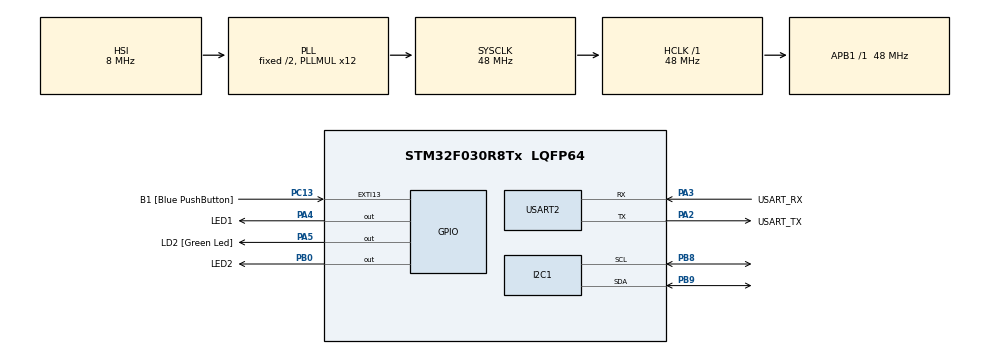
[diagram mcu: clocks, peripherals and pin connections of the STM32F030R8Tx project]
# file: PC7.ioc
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FREERTOS.Queues01=xVisualQueue,16,int16_t,0,Dynamic,NULL,NULL
FREERTOS.Tasks01=defaultTask,0,128,StartDefaultTask,Default,NULL,Dynamic,NULL,NULL;VisualTask,0,128,StartVisualTask,Default,NULL,Dynamic,NULL,NULL;AcceleroTask,0,128,StartAcceleroTask,Default,NULL,Dynamic,NULL,NULL
FREERTOS.configUSE_NEWLIB_REENTRANT=1
I2C1.Timing=0x00201D2B
Mcu.Family=STM32F0
Mcu.Name=STM32F030R8Tx
Mcu.Package=LQFP64
NVIC.TIM14_IRQn=true\:3\:0\:false\:false\:true\:false\:false\:true\:true
NVIC.TimeBase=TIM14_IRQn
NVIC.TimeBaseIP=TIM14
PA13.GPIO_Label=TMS
PA13.Mode=Serial_Wire
PA13.Signal=SYS_SWDIO
PA14.GPIO_Label=TCK
PA14.Mode=Serial_Wire
PA14.Signal=SYS_SWCLK
PA2.GPIO_Label=USART_TX
PA2.GPIO_Mode=GPIO_MODE_AF_PP
PA2.GPIO_PuPd=GPIO_NOPULL
PA2.GPIO_Speed=GPIO_SPEED_FREQ_LOW
PA2.Mode=Asynchronous
PA2.Signal=USART2_TX
PA3.GPIO_Label=USART_RX
PA3.GPIO_Mode=GPIO_MODE_AF_PP
PA3.GPIO_PuPd=GPIO_NOPULL
PA3.GPIO_Speed=GPIO_SPEED_FREQ_LOW
PA3.Mode=Asynchronous
PA3.Signal=USART2_RX
PA4.GPIO_Label=LED1
PA4.Signal=GPIO_Output
PA5.GPIO_Label=LD2 [Green Led]
PA5.GPIO_Mode=GPIO_MODE_OUTPUT_PP
PA5.GPIO_PuPd=GPIO_NOPULL
PA5.GPIO_Speed=GPIO_SPEED_FREQ_LOW
PA5.Signal=GPIO_Output
PB0.GPIO_Label=LED2
PB0.Signal=GPIO_Output
PB8.Mode=I2C
PB8.Signal=I2C1_SCL
PB9.Mode=I2C
PB9.Signal=I2C1_SDA
PC13.GPIO_Label=B1 [Blue PushButton]
PC13.GPIO_ModeDefaultEXTI=GPIO_MODE_IT_FALLING
PC13.Signal=GPXTI13
PC14-OSC32_IN.Mode=LSE-External-Oscillator
PC14-OSC32_IN.Signal=RCC_OSC32_IN
PC15-OSC32_OUT.Mode=LSE-External-Oscillator
PC15-OSC32_OUT.Signal=RCC_OSC32_OUT
PF0-OSC_IN.Mode=HSE-External-Clock-Source
PF0-OSC_IN.Signal=RCC_OSC_IN
PF1-OSC_OUT.Signal=RCC_OSC_OUT
ProjectManager.HeapSize=0x200
ProjectManager.StackSize=0x400
ProjectManager.TargetToolchain=STM32CubeIDE
RCC.AHBFreq_Value=48000000
RCC.APB1Freq_Value=48000000
RCC.APB1TimFreq_Value=48000000
RCC.HCLKFreq_Value=48000000
RCC.PLLMUL=RCC_PLL_MUL12
RCC.SYSCLKFreq_VALUE=48000000
RCC.SYSCLKSource=RCC_SYSCLKSOURCE_PLLCLK
USART2.VirtualMode-Asynchronous=VM_ASYNC
VP_FREERTOS_VS_CMSIS_V1.Mode=CMSIS_V1
VP_SYS_VS_tim14.Mode=TIM14
board=NUCLEO-F030R8

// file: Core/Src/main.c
/* USER CODE BEGIN Header */
/**
  ******************************************************************************
  * @file           : main.c
  * @brief          : Main program body
  ******************************************************************************
  * @attention
  *
  * Copyright (c) 2025 STMicroelectronics.
  * All rights reserved.
  *
  * This software is licensed under terms that can be found in the LICENSE file
  * in the root directory of this software component.
  * If no LICENSE file comes with this software, it is provided AS-IS.
  *
  ******************************************************************************
  */
/* USER CODE END Header */
#include "main.h"
#include "cmsis_os.h"

/* USER CODE BEGIN Includes */
#include <stdio.h>
#include "./LIS2DW12-PID/lis2dw12_reg.h"

/* USER CODE END Includes */

I2C_HandleTypeDef hi2c1;

UART_HandleTypeDef huart2;

osThreadId defaultTaskHandle;
osThreadId VisualTaskHandle;
osThreadId AcceleroTaskHandle;
osMessageQId xVisualQueueHandle;

void SystemClock_Config(void);
static void MX_GPIO_Init(void);
static void MX_USART2_UART_Init(void);
static void MX_I2C1_Init(void);
void StartDefaultTask(void const * argument);
void StartVisualTask(void const * argument);
void StartAcceleroTask(void const * argument);

/* USER CODE BEGIN PFP */

static int32_t platform_write(void *handle, uint8_t reg, uint8_t *bufp, uint16_t len);
static int32_t platform_read(void *handle, uint8_t reg, uint8_t *bufp, uint16_t len);
static stmdev_ctx_t lis2dw12 = {
	.write_reg = platform_write,
	.read_reg = platform_read,
	.handle = &hi2c1,
};

static int32_t platform_write(void *handle, uint8_t reg, uint8_t *bufp, uint16_t len)
{
	HAL_I2C_Mem_Write(handle, LIS2DW12_I2C_ADD_H, reg, I2C_MEMADD_SIZE_8BIT, bufp, len, 1000);
	return 0;
}
static int32_t platform_read(void *handle, uint8_t reg, uint8_t *bufp, uint16_t len)
{
	HAL_I2C_Mem_Read(handle, LIS2DW12_I2C_ADD_H, reg, I2C_MEMADD_SIZE_8BIT, bufp, len, 1000);
	return 0;
}

int _write(int file, char const *buf, int n)
{
	/* stdout redirection to UART2 */
	HAL_UART_Transmit(&huart2, (uint8_t*)(buf), n, HAL_MAX_DELAY);
	return n;
}

/* USER CODE END PFP */

int main(void)
{

  /* MCU Configuration--------------------------------------------------------*/

  /* Reset of all peripherals, Initializes the Flash interface and the Systick. */
  HAL_Init();

  /* Configure the system clock */
  SystemClock_Config();

  /* Initialize all configured peripherals */
  MX_GPIO_Init();
  MX_USART2_UART_Init();
  MX_I2C1_Init();
  /* USER CODE BEGIN 2 */

  uint8_t whoamI = 0;
  lis2dw12_device_id_get(&lis2dw12, &whoamI);
  printf("LIS2DW12_ID %s\n", (whoamI == LIS2DW12_ID) ? "OK" : "FAIL");

  lis2dw12_full_scale_set(&lis2dw12, LIS2DW12_2g);
  lis2dw12_power_mode_set(&lis2dw12, LIS2DW12_CONT_LOW_PWR_LOW_NOISE_2);
  lis2dw12_block_data_update_set(&lis2dw12, PROPERTY_ENABLE);
  // enable continuous FIFO
  lis2dw12_fifo_mode_set(&lis2dw12, LIS2DW12_STREAM_MODE);
  // enable part from power-down
  lis2dw12_data_rate_set(&lis2dw12, LIS2DW12_XL_ODR_25Hz);

  /* USER CODE END 2 */

  /* Create the queue(s) */
  /* definition and creation of xVisualQueue */
  osMessageQDef(xVisualQueue, 16, int16_t);
  xVisualQueueHandle = osMessageCreate(osMessageQ(xVisualQueue), NULL);

  /* Create the thread(s) */
  /* definition and creation of defaultTask */
  osThreadDef(defaultTask, StartDefaultTask, osPriorityNormal, 0, 128);
  defaultTaskHandle = osThreadCreate(osThread(defaultTask), NULL);

  /* definition and creation of VisualTask */
  osThreadDef(VisualTask, StartVisualTask, osPriorityNormal, 0, 128);
  VisualTaskHandle = osThreadCreate(osThread(VisualTask), NULL);

  /* definition and creation of AcceleroTask */
  osThreadDef(AcceleroTask, StartAcceleroTask, osPriorityNormal, 0, 128);
  AcceleroTaskHandle = osThreadCreate(osThread(AcceleroTask), NULL);

  /* Start scheduler */
  osKernelStart();

  /* We should never get here as control is now taken by the scheduler */

  /* Infinite loop */
  while (1)
  {

  }
}

void SystemClock_Config(void)
{
  RCC_OscInitTypeDef RCC_OscInitStruct = {0};
  RCC_ClkInitTypeDef RCC_ClkInitStruct = {0};
  RCC_PeriphCLKInitTypeDef PeriphClkInit = {0};

  /** Initializes the RCC Oscillators according to the specified parameters
  * in the RCC_OscInitTypeDef structure.
  */
  RCC_OscInitStruct.OscillatorType = RCC_OSCILLATORTYPE_HSI;
  RCC_OscInitStruct.HSIState = RCC_HSI_ON;
  RCC_OscInitStruct.HSICalibrationValue = RCC_HSICALIBRATION_DEFAULT;
  RCC_OscInitStruct.PLL.PLLState = RCC_PLL_ON;
  RCC_OscInitStruct.PLL.PLLSource = RCC_PLLSOURCE_HSI;
  RCC_OscInitStruct.PLL.PLLMUL = RCC_PLL_MUL12;
  RCC_OscInitStruct.PLL.PREDIV = RCC_PREDIV_DIV1;
  if (HAL_RCC_OscConfig(&RCC_OscInitStruct) != HAL_OK)
  {
    Error_Handler();
  }

  /** Initializes the CPU, AHB and APB buses clocks
  */
  RCC_ClkInitStruct.ClockType = RCC_CLOCKTYPE_HCLK|RCC_CLOCKTYPE_SYSCLK
                              |RCC_CLOCKTYPE_PCLK1;
  RCC_ClkInitStruct.SYSCLKSource = RCC_SYSCLKSOURCE_PLLCLK;
  RCC_ClkInitStruct.AHBCLKDivider = RCC_SYSCLK_DIV1;
  RCC_ClkInitStruct.APB1CLKDivider = RCC_HCLK_DIV1;

  if (HAL_RCC_ClockConfig(&RCC_ClkInitStruct, FLASH_LATENCY_1) != HAL_OK)
  {
    Error_Handler();
  }
  PeriphClkInit.PeriphClockSelection = RCC_PERIPHCLK_I2C1;
  PeriphClkInit.I2c1ClockSelection = RCC_I2C1CLKSOURCE_HSI;
  if (HAL_RCCEx_PeriphCLKConfig(&PeriphClkInit) != HAL_OK)
  {
    Error_Handler();
  }
}

static void MX_I2C1_Init(void)
{

  hi2c1.Instance = I2C1;
  hi2c1.Init.Timing = 0x00201D2B;
  hi2c1.Init.OwnAddress1 = 0;
  hi2c1.Init.AddressingMode = I2C_ADDRESSINGMODE_7BIT;
  hi2c1.Init.DualAddressMode = I2C_DUALADDRESS_DISABLE;
  hi2c1.Init.OwnAddress2 = 0;
  hi2c1.Init.OwnAddress2Masks = I2C_OA2_NOMASK;
  hi2c1.Init.GeneralCallMode = I2C_GENERALCALL_DISABLE;
  hi2c1.Init.NoStretchMode = I2C_NOSTRETCH_DISABLE;
  if (HAL_I2C_Init(&hi2c1) != HAL_OK)
  {
    Error_Handler();
  }

  /** Configure Analogue filter
  */
  if (HAL_I2CEx_ConfigAnalogFilter(&hi2c1, I2C_ANALOGFILTER_ENABLE) != HAL_OK)
  {
    Error_Handler();
  }

  /** Configure Digital filter
  */
  if (HAL_I2CEx_ConfigDigitalFilter(&hi2c1, 0) != HAL_OK)
  {
    Error_Handler();
  }

}

static void MX_USART2_UART_Init(void)
{

  huart2.Instance = USART2;
  huart2.Init.BaudRate = 38400;
  huart2.Init.WordLength = UART_WORDLENGTH_8B;
  huart2.Init.StopBits = UART_STOPBITS_1;
  huart2.Init.Parity = UART_PARITY_NONE;
  huart2.Init.Mode = UART_MODE_TX_RX;
  huart2.Init.HwFlowCtl = UART_HWCONTROL_NONE;
  huart2.Init.OverSampling = UART_OVERSAMPLING_16;
  huart2.Init.OneBitSampling = UART_ONE_BIT_SAMPLE_DISABLE;
  huart2.AdvancedInit.AdvFeatureInit = UART_ADVFEATURE_NO_INIT;
  if (HAL_UART_Init(&huart2) != HAL_OK)
  {
    Error_Handler();
  }

}

static void MX_GPIO_Init(void)
{
  GPIO_InitTypeDef GPIO_InitStruct = {0};

  /* GPIO Ports Clock Enable */
  __HAL_RCC_GPIOC_CLK_ENABLE();
  __HAL_RCC_GPIOF_CLK_ENABLE();
  __HAL_RCC_GPIOA_CLK_ENABLE();
  __HAL_RCC_GPIOB_CLK_ENABLE();

  /*Configure GPIO pin Output Level */
  HAL_GPIO_WritePin(GPIOA, LED1_Pin|LD2_Pin, GPIO_PIN_RESET);

  /*Configure GPIO pin Output Level */
  HAL_GPIO_WritePin(LED2_GPIO_Port, LED2_Pin, GPIO_PIN_RESET);

  /*Configure GPIO pin : B1_Pin */
  GPIO_InitStruct.Pin = B1_Pin;
  GPIO_InitStruct.Mode = GPIO_MODE_IT_FALLING;
  GPIO_InitStruct.Pull = GPIO_NOPULL;
  HAL_GPIO_Init(B1_GPIO_Port, &GPIO_InitStruct);

  /*Configure GPIO pins : LED1_Pin LD2_Pin */
  GPIO_InitStruct.Pin = LED1_Pin|LD2_Pin;
  GPIO_InitStruct.Mode = GPIO_MODE_OUTPUT_PP;
  GPIO_InitStruct.Pull = GPIO_NOPULL;
  GPIO_InitStruct.Speed = GPIO_SPEED_FREQ_LOW;
  HAL_GPIO_Init(GPIOA, &GPIO_InitStruct);

  /*Configure GPIO pin : LED2_Pin */
  GPIO_InitStruct.Pin = LED2_Pin;
  GPIO_InitStruct.Mode = GPIO_MODE_OUTPUT_PP;
  GPIO_InitStruct.Pull = GPIO_NOPULL;
  GPIO_InitStruct.Speed = GPIO_SPEED_FREQ_LOW;
  HAL_GPIO_Init(LED2_GPIO_Port, &GPIO_InitStruct);

}

void StartDefaultTask(void const * argument)
{
  for(;;)
  {
  }
}

void StartVisualTask(void const * argument)
{
  /* USER CODE BEGIN StartVisualTask */
  /* Infinite loop */
  for(;;)
  {
	  int16_t msg;
	  if (xQueueReceive(xVisualQueueHandle, &msg, portMAX_DELAY))
	  {
		  HAL_GPIO_WritePin(LED1_GPIO_Port, LED1_Pin, (msg < -1000)?1:0);
		  HAL_GPIO_WritePin(LED2_GPIO_Port, LED2_Pin, (msg > 1000)?1:0);
	  }
  }
  /* USER CODE END StartVisualTask */
}

void StartAcceleroTask(void const * argument)
{
  /* USER CODE BEGIN StartAcceleroTask */
  /* Infinite loop */
  for(;;)
  {
	  uint8_t samples;
	  int16_t raw_acceleration[3];
	  lis2dw12_fifo_data_level_get(&lis2dw12, &samples);
	  for (uint8_t i = 0; i < samples; i++) {
	  // Read acceleration data
		  lis2dw12_acceleration_raw_get(&lis2dw12, raw_acceleration);
	  }

	  int msg = raw_acceleration[0];
	  xQueueSend(xVisualQueueHandle, &msg, 0);

	  static uint8_t nMes = 0;
	  if(!(nMes++ % 8))
	  {
		 printf("X=%d Y=%d Z=%d\r\n", raw_acceleration[0], raw_acceleration[1], raw_acceleration[2]);
	  }

	  vTaskDelay(50);
  }
  /* USER CODE END StartAcceleroTask */
}

void HAL_TIM_PeriodElapsedCallback(TIM_HandleTypeDef *htim)
{
  if (htim->Instance == TIM14)
  {
    HAL_IncTick();
  }
}

void Error_Handler(void)
{
  __disable_irq();
  while (1)
  {
  }
}
